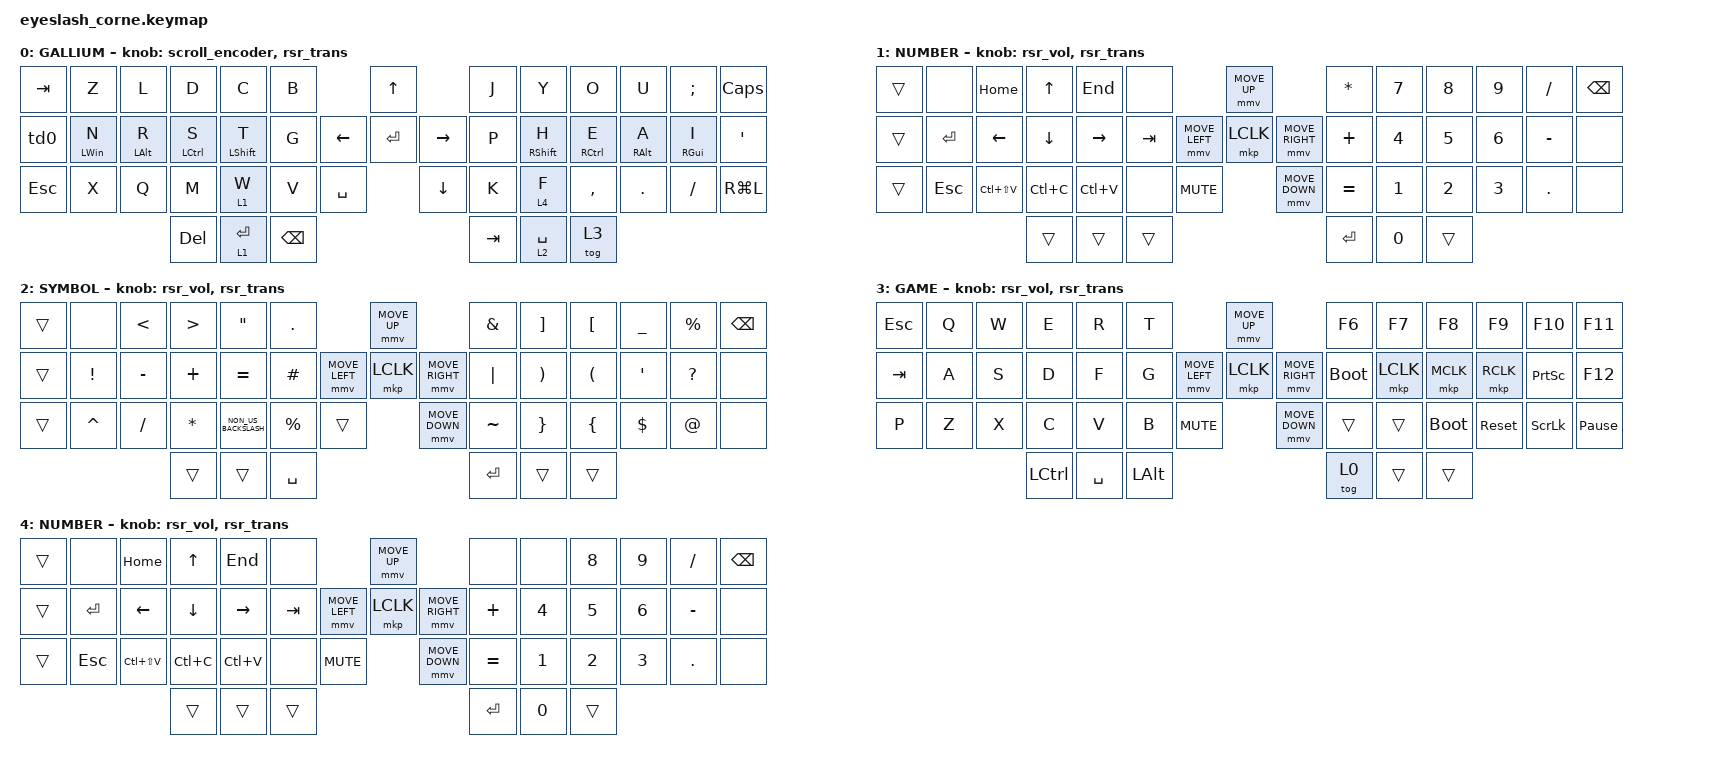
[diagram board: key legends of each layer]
#define ZMK_POINTING_DEFAULT_MOVE_VAL 1200  // 600
#define ZMK_POINTING_DEFAULT_SCRL_VAL 25   // 10

#include <input/processors.dtsi>
#include <zephyr/dt-bindings/input/input-event-codes.h>
#include <behaviors/runtime-sensor-rotate.dtsi>
#include <behaviors.dtsi>
#include <dt-bindings/zmk/keys.h>
#include <dt-bindings/zmk/pointing.h>
#include <dt-bindings/zmk/rgb.h>

&mmv_input_listener { input-processors = <&zip_xy_scaler 2 1>; };

&msc_input_listener { input-processors = <&zip_scroll_scaler 2 1>; };

&msc {
    acceleration-exponent = <1>;      // 0
    time-to-max-speed-ms = <100>;       // 300
    delay-ms = <0>;                   // 0
};

&mmv {
    time-to-max-speed-ms = <500>;
    acceleration-exponent = <1>;
    trigger-period-ms = <16>;
};

/ {
    behaviors {
        td0: td0 {
            compatible = "zmk,behavior-tap-dance";
            display-name = "Shift/Caps Lock Tap Dance";
            #binding-cells = <0>;
            bindings = <&kp LEFT_SHIFT>, <&kp CAPS>;
        };

        rsr_vol: rsr_vol {
            compatible = "zmk,behavior-runtime-sensor-rotate";
            #sensor-binding-cells = <0>;
            tap-ms = <5>;
            cw-binding = <&kp C_VOL_UP>;
            ccw-binding = <&kp C_VOL_DN>;
        };

        rsr_trans: rsr_trans {
            compatible = "zmk,behavior-runtime-sensor-rotate";
            #sensor-binding-cells = <0>;
            tap-ms = <0>;
        };

        HML: HML {
            compatible = "zmk,behavior-hold-tap";
            label = "HML";
            bindings = <&kp>, <&kp>;

            #binding-cells = <2>;
            tapping-term-ms = <200>;
            flavor = "tap-preferred";
            hold-trigger-key-positions = <7 8 9 10 11 12 22 23 24 25 26 27 36 37 38 39 40 41 46 47 45>;
        };

        HMR: HMR {
            compatible = "zmk,behavior-hold-tap";
            label = "HMR";
            bindings = <&kp>, <&kp>;

            #binding-cells = <2>;
            tapping-term-ms = <200>;
            flavor = "tap-preferred";
            hold-trigger-key-positions = <0 1 2 3 4 5 13 14 15 16 17 18 28 29 30 31 32 33 34 42 43 44>;
        };
    };

    rgb_encoder: rgb_encoder {
        compatible = "zmk,behavior-sensor-rotate";
        #sensor-binding-cells = <0>;
        bindings = <&rgb_ug RGB_BRI>, <&rgb_ug RGB_BRD>;
    };

    scroll_encoder: scroll_encoder {
        compatible = "zmk,behavior-sensor-rotate";
        #sensor-binding-cells = <0>;
        bindings = <&msc SCRL_DOWN>, <&msc SCRL_UP>;

        tap-ms = <100>;
    };

    keymap {
        compatible = "zmk,keymap";

        BASE {
            display-name = "GALLIUM";
            bindings = <
&kp TAB  &kp Z            &kp L            &kp D         &kp C         &kp B                                 &kp UP                &kp J    &kp Y               &kp O         &kp U             &kp SEMICOLON  &kp CAPSLOCK
&td0     &HML LEFT_WIN N  &HML LEFT_ALT R  &HML LCTRL S  &HML LSHFT T  &kp G                       &kp LEFT  &kp ENTER  &kp RIGHT  &kp P    &HMR RIGHT_SHIFT H  &HMR RCTRL E  &HMR RIGHT_ALT A  &HMR RGUI I    &kp SQT
&kp ESC  &kp X            &kp Q            &kp M         &lt 1 W       &kp V          &kp SPACE              &kp DOWN              &kp K    &lt 4 F             &kp COMMA     &kp DOT           &kp FSLH       &kp RG(L)
                                           &kp DEL       &lt 1 ENTER   &kp BACKSPACE                                               &kp TAB  &lt 2 SPACE         &tog 3
            >;

            sensor-bindings = <&scroll_encoder>, <&rsr_trans>;
        };

        NUMBER {
            display-name = "NUMBER";
            bindings = <
&trans  &none       &kp HOME        &kp UP_ARROW    &kp END          &none                                  &mmv MOVE_UP                     &kp ASTERISK  &kp N7        &kp N8        &kp N9        &kp SLASH   &kp BSPC
&trans  &kp ENTER   &kp LEFT_ARROW  &kp DOWN_ARROW  &kp RIGHT_ARROW  &kp TAB                &mmv MOVE_LEFT  &mkp LCLK       &mmv MOVE_RIGHT  &kp PLUS      &kp NUMBER_4  &kp N5        &kp NUMBER_6  &kp MINUS   &none
&trans  &kp ESCAPE  &kp LC(LS(V))   &kp LC(C)       &kp LC(V)        &none    &kp C_MUTE                    &mmv MOVE_DOWN                   &kp EQUAL     &kp NUMBER_1  &kp NUMBER_2  &kp NUMBER_3  &kp PERIOD  &none
                                    &trans          &trans           &trans                                                                  &kp ENTER     &kp N0        &trans
            >;

            sensor-bindings = <&rsr_vol &rsr_trans>;
        };

        SYMBOL {
            display-name = "SYMBOL";
            bindings = <
&trans  &none      &kp LESS_THAN  &kp GREATER_THAN  &kp DOUBLE_QUOTES     &kp PERIOD                             &mmv MOVE_UP                     &kp AMPS   &kp RIGHT_BRACKET      &kp LEFT_BRACKET      &kp UNDER   &kp PERCENT   &kp BSPC
&trans  &kp EXCL   &kp MINUS      &kp PLUS          &kp EQUAL             &kp POUND              &mmv MOVE_LEFT  &mkp LCLK       &mmv MOVE_RIGHT  &kp PIPE   &kp RIGHT_PARENTHESIS  &kp LEFT_PARENTHESIS  &kp SQT     &kp QUESTION  &none
&trans  &kp CARET  &kp SLASH      &kp STAR          &kp NON_US_BACKSLASH  &kp PERCENT  &trans                    &mmv MOVE_DOWN                   &kp TILDE  &kp RIGHT_BRACE        &kp LBRC              &kp DOLLAR  &kp AT        &none
                                  &trans            &trans                &kp SPACE                                                               &kp RET    &trans                 &trans
            >;

            sensor-bindings = <&rsr_vol &rsr_trans>;
        };

        GAME {
            display-name = "GAME";
            bindings = <
&kp ESC  &kp Q  &kp W  &kp E      &kp R      &kp T                                       &mmv MOVE_UP                     &kp F6       &kp F7     &kp F8       &kp F9      &kp F10          &kp F11
&kp TAB  &kp A  &kp S  &kp D      &kp F      &kp G                       &mmv MOVE_LEFT  &mkp LCLK       &mmv MOVE_RIGHT  &bootloader  &mkp LCLK  &mkp MCLK    &mkp RCLK   &kp PRINTSCREEN  &kp F12
&kp P    &kp Z  &kp X  &kp C      &kp V      &kp B         &kp C_MUTE                    &mmv MOVE_DOWN                   &trans       &trans     &bootloader  &sys_reset  &kp SCROLLLOCK   &kp PAUSE_BREAK
                       &kp LCTRL  &kp SPACE  &kp LEFT_ALT                                                                 &tog 0       &trans     &trans
            >;

            sensor-bindings = <&rsr_vol &rsr_trans>;
        };

        NAV {
            display-name = "NUMBER";
            bindings = <
&trans  &none       &kp HOME        &kp UP_ARROW    &kp END          &none                                  &mmv MOVE_UP                     &none      &none         &kp N8        &kp N9        &kp SLASH   &kp BSPC
&trans  &kp ENTER   &kp LEFT_ARROW  &kp DOWN_ARROW  &kp RIGHT_ARROW  &kp TAB                &mmv MOVE_LEFT  &mkp LCLK       &mmv MOVE_RIGHT  &kp PLUS   &kp NUMBER_4  &kp N5        &kp NUMBER_6  &kp MINUS   &none
&trans  &kp ESCAPE  &kp LC(LS(V))   &kp LC(C)       &kp LC(V)        &none    &kp C_MUTE                    &mmv MOVE_DOWN                   &kp EQUAL  &kp NUMBER_1  &kp NUMBER_2  &kp NUMBER_3  &kp PERIOD  &none
                                    &trans          &trans           &trans                                                                  &kp ENTER  &kp N0        &trans
            >;

            sensor-bindings = <&rsr_vol>, <&rsr_trans>;
        };
    };
};
